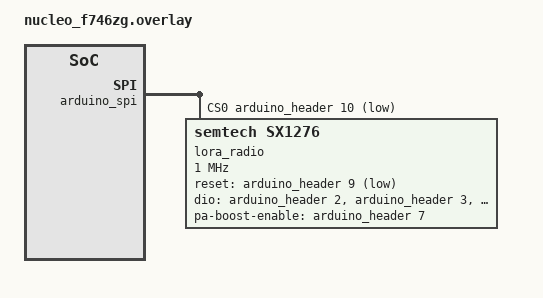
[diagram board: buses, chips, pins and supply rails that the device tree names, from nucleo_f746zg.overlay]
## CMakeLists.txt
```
cmake_minimum_required(VERSION 3.20.0)

find_package(Zephyr REQUIRED HINTS $ENV{ZEPHYR_BASE})
project(lora_gateway)

target_sources(app PRIVATE src/main.c)
```

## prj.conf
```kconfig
# Logging
CONFIG_LOG=y
CONFIG_LOG_DEFAULT_LEVEL=3

# LoRa
CONFIG_LORA=y
CONFIG_LORA_SX126X=y

# SPI
CONFIG_SPI=y

# GPIO
CONFIG_GPIO=y

# Networking (optional - can be disabled if not needed)
CONFIG_NETWORKING=n

# JSON support for data formatting (simplified)
CONFIG_NEWLIB_LIBC=y

# Increase memory
CONFIG_MAIN_STACK_SIZE=4096
CONFIG_SYSTEM_WORKQUEUE_STACK_SIZE=4096
```

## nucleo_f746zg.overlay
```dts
// Gateway overlay for NUCLEO-F746ZG
/ {
    aliases {
        lora0 = &lora_radio;
    };
};

&arduino_spi {
    status = "okay";
    cs-gpios = <&arduino_header 10 GPIO_ACTIVE_LOW>; // D10
    
    lora_radio: lora@0 {
        compatible = "semtech,sx1276";
        reg = <0>;
        spi-max-frequency = <1000000>;
        
        // Standard Arduino shield connections
        reset-gpios = <&arduino_header 9 GPIO_ACTIVE_LOW>;    // D9
        dio-gpios = <&arduino_header 2 GPIO_ACTIVE_HIGH>,     // D2 (DIO0)
                   <&arduino_header 3 GPIO_ACTIVE_HIGH>,      // D3 (DIO1)
                   <&arduino_header 4 GPIO_ACTIVE_HIGH>;      // D4 (DIO2)
        
        // Power amplifier
        pa-boost-enable-gpios = <&arduino_header 7 GPIO_ACTIVE_HIGH>; // D7
        power-amplifier-output = "pa-boost";
        
        status = "okay";
    };
};
```

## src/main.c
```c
#include <zephyr/kernel.h>
#include <zephyr/device.h>
#include <zephyr/drivers/lora.h>
#include <zephyr/drivers/gpio.h>
#include <zephyr/logging/log.h>
#include <string.h>
#include <stdio.h>

LOG_MODULE_REGISTER(lora_gateway, LOG_LEVEL_INF);

/* LoRa Configuration */
#define DEFAULT_RADIO_NODE DT_ALIAS(lora0)
#define MAX_NODES 16
#define NODE_TIMEOUT_MS 30000  // 30 seconds timeout

/* LED Configuration */
#define LED0_NODE DT_ALIAS(led0)
#define LED1_NODE DT_ALIAS(led1)
#define LED2_NODE DT_ALIAS(led2)

static const struct gpio_dt_spec led0 = GPIO_DT_SPEC_GET_OR(LED0_NODE, gpios, {0});
static const struct gpio_dt_spec led1 = GPIO_DT_SPEC_GET_OR(LED1_NODE, gpios, {0});
static const struct gpio_dt_spec led2 = GPIO_DT_SPEC_GET_OR(LED2_NODE, gpios, {0});

/* Global Variables */
static const struct device *const lora_dev = DEVICE_DT_GET(DEFAULT_RADIO_NODE);
static uint32_t total_messages_received = 0;

/* LoRa Configuration */
static struct lora_modem_config config = {
    .frequency = 434000000,
    .bandwidth = BW_125_KHZ,
    .datarate = SF_10,
    .preamble_len = 8,
    .coding_rate = CR_4_5,
    .tx_power = 14,
    .tx = true,
};

/* Sensor Message Structure (must match sensor node) */
struct sensor_message {
    uint8_t node_id;
    uint8_t msg_type;
    uint16_t seq_num;
    float temperature;
    float humidity;
    uint16_t battery_mv;
    uint16_t crc;
};

/* Node tracking structure */
struct node_info {
    uint8_t node_id;
    uint32_t last_seen;
    uint32_t message_count;
    int16_t last_rssi;
    int8_t last_snr;
    float last_temperature;
    float last_humidity;
    uint16_t last_battery;
    bool active;
};

static struct node_info nodes[MAX_NODES];
static uint8_t active_node_count = 0;

/* Function Prototypes */
static void lora_receive_cb(const struct device *dev, uint8_t *data, uint16_t size,
                           int16_t rssi, int8_t snr, void *user_data);
static void process_sensor_data(struct sensor_message *msg, int16_t rssi, int8_t snr);
static void send_acknowledgment(uint8_t node_id, uint16_t seq_num);
static uint16_t calculate_crc(uint8_t *data, uint16_t len);
static void update_node_info(struct sensor_message *msg, int16_t rssi, int8_t snr);
static void print_gateway_status(void);
static void led_activity_indication(void);

/* Calculate CRC (same as sensor node) */
static uint16_t calculate_crc(uint8_t *data, uint16_t len)
{
    uint16_t crc = 0xFFFF;
    for (uint16_t i = 0; i < len; i++) {
        crc ^= data[i];
        for (uint8_t j = 0; j < 8; j++) {
            if (crc & 1) {
                crc = (crc >> 1) ^ 0xA001;
            } else {
                crc >>= 1;
            }
        }
    }
    return crc;
}

/* LED Activity Indication */
static void led_activity_indication(void)
{
    if (gpio_is_ready_dt(&led0)) {
        gpio_pin_set_dt(&led0, 1);
        k_msleep(100);
        gpio_pin_set_dt(&led0, 0);
    }
}

/* Update Node Information */
static void update_node_info(struct sensor_message *msg, int16_t rssi, int8_t snr)
{
    struct node_info *node = NULL;
    
    // Find existing node or create new one
    for (int i = 0; i < MAX_NODES; i++) {
        if (nodes[i].node_id == msg->node_id && nodes[i].active) {
            node = &nodes[i];
            break;
        }
    }
    
    // If not found, create new node entry
    if (!node) {
        for (int i = 0; i < MAX_NODES; i++) {
            if (!nodes[i].active) {
                node = &nodes[i];
                node->node_id = msg->node_id;
                node->active = true;
                node->message_count = 0;
                active_node_count++;
                LOG_INF("New node registered: 0x%02X", msg->node_id);
                break;
            }
        }
    }
    
    if (node) {
        node->last_seen = k_uptime_get_32();
        node->message_count++;
        node->last_rssi = rssi;
        node->last_snr = snr;
        node->last_temperature = msg->temperature;
        node->last_humidity = msg->humidity;
        node->last_battery = msg->battery_mv;
    }
}

/* Send Acknowledgment */
static void send_acknowledgment(uint8_t node_id, uint16_t seq_num)
{
    uint8_t ack_msg[4] = {0xAA, node_id, (seq_num >> 8) & 0xFF, seq_num & 0xFF};
    
    int ret = lora_send(lora_dev, ack_msg, sizeof(ack_msg));
    if (ret < 0) {
        LOG_WRN("ACK send failed: %d", ret);
    } else {
        LOG_DBG("ACK sent to node 0x%02X, seq %u", node_id, seq_num);
    }
}

/* Process Sensor Data */
static void process_sensor_data(struct sensor_message *msg, int16_t rssi, int8_t snr)
{
    // Verify CRC
    uint16_t calculated_crc = calculate_crc((uint8_t*)msg, sizeof(*msg) - sizeof(msg->crc));
    if (calculated_crc != msg->crc) {
        LOG_WRN("CRC mismatch for node 0x%02X", msg->node_id);
        return;
    }
    
    // Update node information
    update_node_info(msg, rssi, snr);
    
    // Log received data
    LOG_INF("Node 0x%02X [%u]: T=%.1f°C H=%.1f%% B=%umV RSSI=%d SNR=%d",
            msg->node_id, msg->seq_num, 
            msg->temperature, msg->humidity, msg->battery_mv,
            rssi, snr);
    
    // Format as JSON for external systems
    char json_buffer[256];
    snprintf(json_buffer, sizeof(json_buffer),
        "{\"node_id\":\"0x%02X\",\"seq\":%u,\"temp\":%.1f,\"humidity\":%.1f,"
        "\"battery\":%u,\"rssi\":%d,\"snr\":%d,\"timestamp\":%u}",
        msg->node_id, msg->seq_num, msg->temperature, msg->humidity,
        msg->battery_mv, rssi, snr, k_uptime_get_32());
    
    LOG_INF("JSON: %s", json_buffer);
    
    // Send acknowledgment
    send_acknowledgment(msg->node_id, msg->seq_num);
    
    total_messages_received++;
}

/* LoRa Receive Callback */
static void lora_receive_cb(const struct device *dev, uint8_t *data, uint16_t size,
                           int16_t rssi, int8_t snr, void *user_data)
{
    ARG_UNUSED(dev);
    ARG_UNUSED(user_data);
    
    led_activity_indication();
    
    if (size == sizeof(struct sensor_message)) {
        struct sensor_message *msg = (struct sensor_message *)data;
        if (msg->msg_type == 0x01) {  // Sensor data
            process_sensor_data(msg, rssi, snr);
        }
    } else {
        LOG_WRN("Unexpected message size: %u", size);
    }
}

/* Print Gateway Status */
static void print_gateway_status(void)
{
    uint32_t uptime = k_uptime_get_32();
    
    LOG_INF("=== Gateway Status ===");
    LOG_INF("Uptime: %u ms", uptime);
    LOG_INF("Active nodes: %u", active_node_count);
    LOG_INF("Total messages: %u", total_messages_received);
    
    for (int i = 0; i < MAX_NODES; i++) {
        if (nodes[i].active) {
            uint32_t age = uptime - nodes[i].last_seen;
            LOG_INF("Node 0x%02X: %u msgs, age %u ms, T=%.1f°C, H=%.1f%%, B=%umV, RSSI=%d",
                    nodes[i].node_id, nodes[i].message_count, age,
                    nodes[i].last_temperature, nodes[i].last_humidity,
                    nodes[i].last_battery, nodes[i].last_rssi);
        }
    }
    LOG_INF("=====================");
}

/* Initialize LoRa */
static int init_lora(void)
{
    int ret;

    if (!device_is_ready(lora_dev)) {
        LOG_ERR("LoRa device not ready");
        return -ENODEV;
    }

    ret = lora_config(lora_dev, &config);
    if (ret < 0) {
        LOG_ERR("LoRa config failed: %d", ret);
        return ret;
    }

    ret = lora_recv_async(lora_dev, lora_receive_cb, NULL);
    if (ret < 0) {
        LOG_ERR("LoRa RX setup failed: %d", ret);
        return ret;
    }

    LOG_INF("LoRa gateway initialized successfully");
    return 0;
}

/* Initialize LEDs */
static int init_leds(void)
{
    int ret = 0;

    if (gpio_is_ready_dt(&led0)) {
        ret = gpio_pin_configure_dt(&led0, GPIO_OUTPUT_INACTIVE);
        if (ret < 0) {
            LOG_ERR("LED0 config failed: %d", ret);
            return ret;
        }
    }

    if (gpio_is_ready_dt(&led1)) {
        ret = gpio_pin_configure_dt(&led1, GPIO_OUTPUT_INACTIVE);
        if (ret < 0) {
            LOG_WRN("LED1 config failed: %d", ret);
        }
    }

    if (gpio_is_ready_dt(&led2)) {
        ret = gpio_pin_configure_dt(&led2, GPIO_OUTPUT_INACTIVE);
        if (ret < 0) {
            LOG_WRN("LED2 config failed: %d", ret);
        }
    }

    LOG_INF("LEDs initialized");
    return 0;
}

/* Status Thread */
static void status_thread(void)
{
    while (1) {
        k_msleep(30000);  // Print status every 30 seconds
        print_gateway_status();
    }
}

K_THREAD_DEFINE(status_tid, 1024, status_thread, NULL, NULL, NULL, 7, 0, 0);

/* Main Function */
int main(void)
{
    int ret;

    LOG_INF("LoRa Gateway Starting...");

    /* Initialize LEDs */
    ret = init_leds();
    if (ret < 0) {
        LOG_ERR("LED init failed: %d", ret);
        return ret;
    }

    /* Initialize LoRa */
    ret = init_lora();
    if (ret < 0) {
        LOG_ERR("LoRa init failed: %d", ret);
        return ret;
    }

    /* Startup LED sequence */
    for (int i = 0; i < 3; i++) {
        if (gpio_is_ready_dt(&led0)) gpio_pin_set_dt(&led0, 1);
        if (gpio_is_ready_dt(&led1)) gpio_pin_set_dt(&led1, 1);
        if (gpio_is_ready_dt(&led2)) gpio_pin_set_dt(&led2, 1);
        k_msleep(200);
        if (gpio_is_ready_dt(&led0)) gpio_pin_set_dt(&led0, 0);
        if (gpio_is_ready_dt(&led1)) gpio_pin_set_dt(&led1, 0);
        if (gpio_is_ready_dt(&led2)) gpio_pin_set_dt(&led2, 0);
        k_msleep(200);
    }

    LOG_INF("Gateway ready - listening for sensor nodes");

    /* Main loop */
    while (1) {
        k_msleep(1000);
        
        // Check for node timeouts
        uint32_t current_time = k_uptime_get_32();
        for (int i = 0; i < MAX_NODES; i++) {
            if (nodes[i].active && 
                (current_time - nodes[i].last_seen) > NODE_TIMEOUT_MS) {
                LOG_WRN("Node 0x%02X timeout", nodes[i].node_id);
                nodes[i].active = false;
                active_node_count--;
            }
        }
    }

    return 0;
}
```
